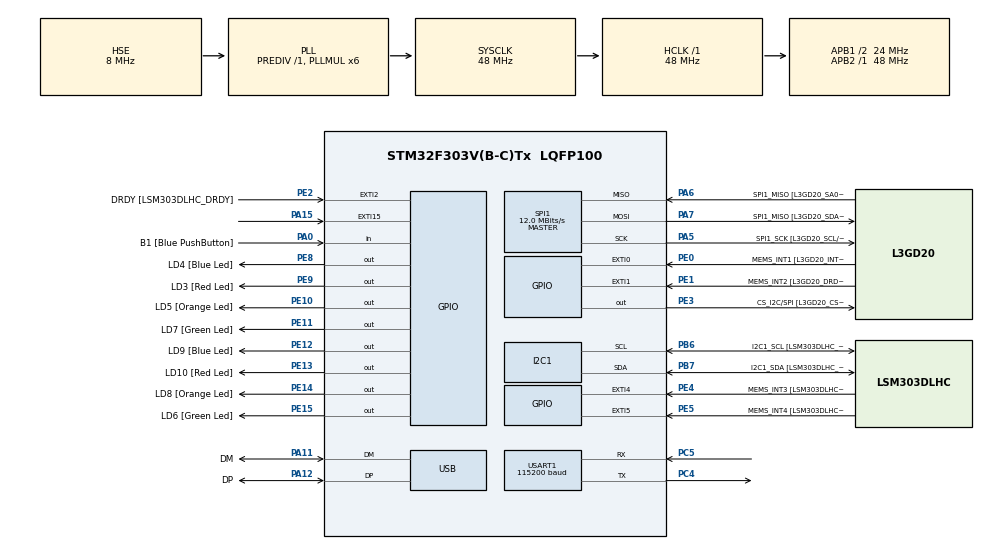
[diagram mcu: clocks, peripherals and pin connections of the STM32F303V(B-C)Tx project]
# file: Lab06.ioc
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I2C1.Timing=0x2000090E
I2C1.Timing-I2C=0x2000090E
Mcu.Family=STM32F3
Mcu.Name=STM32F303V(B-C)Tx
Mcu.Package=LQFP100
NVIC.EXTI15_10_IRQn=true\:0\:0\:false\:false\:true\:true\:true\:true
NVIC.PriorityGroup=NVIC_PRIORITYGROUP_0
NVIC.USB_LP_CAN_RX0_IRQn=true\:0\:0\:false\:false\:true\:false\:true\:true
PA0.GPIO_Label=B1 [Blue PushButton]
PA0.Signal=GPIO_Input
PA11.GPIO_Label=DM
PA11.Mode=Device
PA11.Signal=USB_DM
PA12.GPIO_Label=DP
PA12.Mode=Device
PA12.Signal=USB_DP
PA13.GPIO_Label=SWDIO
PA13.Mode=Serial_Wire
PA13.Signal=SYS_JTMS-SWDIO
PA14.GPIO_Label=SWCLK
PA14.Mode=Serial_Wire
PA14.Signal=SYS_JTCK-SWCLK
PA15.Signal=GPXTI15
PA5.GPIO_Label=SPI1_SCK [L3GD20_SCL/SPC]
PA5.Mode=Full_Duplex_Master
PA5.Signal=SPI1_SCK
PA6.GPIO_Label=SPI1_MISO [L3GD20_SA0/SDO]
PA6.Mode=Full_Duplex_Master
PA6.Signal=SPI1_MISO
PA7.GPIO_Label=SPI1_MISO [L3GD20_SDA/SDI/SDO]
PA7.Mode=Full_Duplex_Master
PA7.Signal=SPI1_MOSI
PB3.GPIO_Label=SWO
PB3.Signal=SYS_JTDO-TRACESWO
PB6.GPIO_Label=I2C1_SCL [LSM303DLHC_SCL]
PB6.GPIO_Pu=GPIO_PULLUP
PB6.Mode=I2C
PB6.Signal=I2C1_SCL
PB7.GPIO_Label=I2C1_SDA [LSM303DLHC_SDA]
PB7.GPIO_Pu=GPIO_PULLUP
PB7.Mode=I2C
PB7.Signal=I2C1_SDA
PC14-OSC32_IN.GPIO_Label=OSC32_IN
PC14-OSC32_IN.Signal=RCC_OSC32_IN
PC15-OSC32_OUT.GPIO_Label=OSC32_OUT
PC15-OSC32_OUT.Signal=RCC_OSC32_OUT
PC4.Mode=Asynchronous
PC4.Signal=USART1_TX
PC5.Mode=Asynchronous
PC5.Signal=USART1_RX
PE0.GPIO_Label=MEMS_INT1 [L3GD20_INT1]
PE0.GPIO_ModeDefaultEXTI=GPIO_MODE_EVT_RISING
PE0.Signal=GPXTI0
PE1.GPIO_Label=MEMS_INT2 [L3GD20_DRDY/INT2]
PE1.GPIO_ModeDefaultEXTI=GPIO_MODE_EVT_RISING
PE1.Signal=GPXTI1
PE10.GPIO_Label=LD5 [Orange Led]
PE10.Signal=GPIO_Output
PE11.GPIO_Label=LD7 [Green Led]
PE11.Signal=GPIO_Output
PE12.GPIO_Label=LD9 [Blue Led]
PE12.Signal=GPIO_Output
PE13.GPIO_Label=LD10 [Red Led]
PE13.Signal=GPIO_Output
PE14.GPIO_Label=LD8 [Orange Led]
PE14.Signal=GPIO_Output
PE15.GPIO_Label=LD6 [Green Led]
PE15.Signal=GPIO_Output
PE2.GPIO_Label=DRDY [LSM303DLHC_DRDY]
PE2.GPIO_ModeDefaultEXTI=GPIO_MODE_EVT_RISING
PE2.Signal=GPXTI2
PE3.GPIO_Label=CS_I2C/SPI [L3GD20_CS_I2C/SPI]
PE3.Signal=GPIO_Output
PE4.GPIO_Label=MEMS_INT3 [LSM303DLHC_INT1]
PE4.GPIO_ModeDefaultEXTI=GPIO_MODE_EVT_RISING
PE4.Signal=GPXTI4
PE5.GPIO_Label=MEMS_INT4 [LSM303DLHC_INT2]
PE5.GPIO_ModeDefaultEXTI=GPIO_MODE_EVT_RISING
PE5.Signal=GPXTI5
PE8.GPIO_Label=LD4 [Blue Led]
PE8.Signal=GPIO_Output
PE9.GPIO_Label=LD3 [Red Led]
PE9.Signal=GPIO_Output
PF0-OSC_IN.GPIO_Label=OSC_IN
PF0-OSC_IN.Mode=HSE-External-Clock-Source
PF0-OSC_IN.Signal=RCC_OSC_IN
PF1-OSC_OUT.GPIO_Label=OSC_OUT
PF1-OSC_OUT.Signal=RCC_OSC_OUT
ProjectManager.HeapSize=0x200
ProjectManager.StackSize=0x400
ProjectManager.TargetToolchain=CMake
RCC.AHBFreq_Value=48000000
RCC.APB1CLKDivider=RCC_HCLK_DIV2
RCC.APB1Freq_Value=24000000
RCC.APB1TimFreq_Value=48000000
RCC.APB2Freq_Value=48000000
RCC.APB2TimFreq_Value=48000000
RCC.CortexFreq_Value=48000000
RCC.HCLKFreq_Value=48000000
RCC.HSE_VALUE=8000000
RCC.HSI_VALUE=8000000
RCC.LSE_VALUE=32768
RCC.PLLMUL=RCC_PLL_MUL6
RCC.SYSCLKFreq_VALUE=48000000
RCC.SYSCLKSourceVirtual=RCC_SYSCLKSOURCE_PLLCLK
RCC.USBFreq_Value=48000000
SPI1.BaudRatePrescaler=SPI_BAUDRATEPRESCALER_4
SPI1.BaudRatePrescaler-Full_Duplex_Master=SPI_BAUDRATEPRESCALER_2
SPI1.CalculateBaudRate=12.0 MBits/s
SPI1.CalculateBaudRate-Full_Duplex_Master=24.0 MBits/s
SPI1.Direction=SPI_DIRECTION_2LINES
SPI1.Mode=SPI_MODE_MASTER
SPI1.Mode-Full_Duplex_Master=SPI_MODE_MASTER
SPI1.VirtualType=VM_MASTER
TIM2.Period=0xFFFF
TIM2.Prescaler=9
USART1.BaudRate=115200
USART1.VirtualMode-Asynchronous=VM_ASYNC
USB_DEVICE.CLASS_NAME_FS=CDC
USB_DEVICE.VirtualMode=Cdc
USB_DEVICE.VirtualModeFS=Cdc_FS
VP_TIM2_VS_ClockSourceINT.Mode=Internal
VP_USB_DEVICE_VS_USB_DEVICE_CDC_FS.Mode=CDC_FS
board=STM32F3DISCOVERY

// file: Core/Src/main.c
/* USER CODE BEGIN Header */
/**
  ******************************************************************************
  * @file           : main.c
  * @brief          : Main program body
  ******************************************************************************
  * @attention
  *
  * Copyright (c) 2025 STMicroelectronics.
  * All rights reserved.
  *
  * This software is licensed under terms that can be found in the LICENSE file
  * in the root directory of this software component.
  * If no LICENSE file comes with this software, it is provided AS-IS.
  *
  ******************************************************************************
  */
/* USER CODE END Header */
#include "main.h"
#include "usb_device.h"
#include <string.h>
#include <math.h>

I2C_HandleTypeDef hi2c1;

SPI_HandleTypeDef hspi1;

TIM_HandleTypeDef htim2;

UART_HandleTypeDef huart1;

/* USER CODE BEGIN PV */
// ------------ Frequency measurement configuration ------------
#define SAMPLE_COUNT        16          // e.g., 10 or 16
#define TIMER_TICK_HZ       8000000UL   // Per the assignment formula (8 MHz)
#define EXTI_INPUT_PIN      GPIO_PIN_15 // <-- change to GPIO_PIN_0 if you move to PD0

static volatile uint32_t period_samples[SAMPLE_COUNT] = {0};
static volatile uint8_t  sample_index = 0;
static volatile uint8_t  measuring = 0;       // 0: wait for first edge, 1: timer running waiting for second edge
static volatile uint8_t  print_flag = 0;      // set when buffer is full

// Optional: simple rate limiter for printing in main loop
static uint32_t last_print_check_ms = 0;
/* USER CODE END PV */

void SystemClock_Config(void);
static void MX_GPIO_Init(void);
static void MX_I2C1_Init(void);
static void MX_SPI1_Init(void);
static void MX_TIM2_Init(void);
static void MX_USART1_UART_Init(void);

/* USER CODE BEGIN 0 */
static void uart_println(const char *s)
{
  HAL_UART_Transmit(&huart1, (uint8_t*)s, (uint16_t)strlen(s), HAL_MAX_DELAY);
  const char nl[2] = {'\r','\n'};
  HAL_UART_Transmit(&huart1, (uint8_t*)nl, 2, HAL_MAX_DELAY);
}

/* USER CODE END 0 */

int main(void)
{

  /* MCU Configuration--------------------------------------------------------*/

  /* Reset of all peripherals, Initializes the Flash interface and the Systick. */
  HAL_Init();

  /* Configure the system clock */
  SystemClock_Config();

  /* Initialize all configured peripherals */
  MX_GPIO_Init();
  MX_I2C1_Init();
  MX_SPI1_Init();
  MX_TIM2_Init();
  MX_USART1_UART_Init();
  MX_USB_DEVICE_Init();

  /* Infinite loop */
  while (1)
  {
    /* USER CODE BEGIN 3 */
uint32_t now = HAL_GetTick();
if ((now - last_print_check_ms) >= 100)   // every ~100 ms
{
  last_print_check_ms = now;

  if (print_flag)
  {
__disable_irq();
uint32_t local[SAMPLE_COUNT];
for (uint8_t i = 0; i < SAMPLE_COUNT; ++i)
    local[i] = period_samples[i];
sample_index = 0;
print_flag = 0;
__enable_irq();

// Compute average (in ticks)
uint64_t ssum = 0;
uint32_t minv = 0xFFFFFFFFu, maxv = 0;
for (uint8_t i = 0; i < SAMPLE_COUNT; ++i) {
  uint32_t v = local[i];
  ssum += v;
  if (v < minv) minv = v;
  if (v > maxv) maxv = v;
}
uint32_t avg_ticks_u32 = (uint32_t)((ssum + (SAMPLE_COUNT/2)) / SAMPLE_COUNT);

// Protect against divide-by-zero
if (avg_ticks_u32 == 0) {
  uart_println("avg_ticks is 0; check signal/EXTI prescaler.");
} else {
  uint64_t num = (uint64_t)TIMER_TICK_HZ;
  uint64_t den = (uint64_t)2 * (uint64_t)avg_ticks_u32;
  uint32_t f_hz = (uint32_t)((num + den/2) / den);

  uint32_t half_span_ticks = (maxv > minv) ? ((maxv - minv) / 2u) : 0u;
  uint32_t f_err_hz = (avg_ticks_u32 ? (uint32_t)(( (uint64_t)f_hz * half_span_ticks + avg_ticks_u32/2 ) / avg_ticks_u32) : 0u);

  char line[160];
  snprintf(line, sizeof(line),
           "f = %lu Hz  (±%lu Hz)  [avg_ticks=%lu, span=%lu..%lu, N=%d]",
           (unsigned long)f_hz,
           (unsigned long)f_err_hz,
           (unsigned long)avg_ticks_u32,
           (unsigned long)minv,
           (unsigned long)maxv,
           SAMPLE_COUNT);
  uart_println(line);
}
  }
}

    /* USER CODE BEGIN 3 */
  }
  /* USER CODE END 3 */
}

void SystemClock_Config(void)
{
  RCC_OscInitTypeDef RCC_OscInitStruct = {0};
  RCC_ClkInitTypeDef RCC_ClkInitStruct = {0};
  RCC_PeriphCLKInitTypeDef PeriphClkInit = {0};

  /** Initializes the RCC Oscillators according to the specified parameters
  * in the RCC_OscInitTypeDef structure.
  */
  RCC_OscInitStruct.OscillatorType = RCC_OSCILLATORTYPE_HSI|RCC_OSCILLATORTYPE_HSE;
  RCC_OscInitStruct.HSEState = RCC_HSE_BYPASS;
  RCC_OscInitStruct.HSEPredivValue = RCC_HSE_PREDIV_DIV1;
  RCC_OscInitStruct.HSIState = RCC_HSI_ON;
  RCC_OscInitStruct.HSICalibrationValue = RCC_HSICALIBRATION_DEFAULT;
  RCC_OscInitStruct.PLL.PLLState = RCC_PLL_ON;
  RCC_OscInitStruct.PLL.PLLSource = RCC_PLLSOURCE_HSE;
  RCC_OscInitStruct.PLL.PLLMUL = RCC_PLL_MUL6;
  if (HAL_RCC_OscConfig(&RCC_OscInitStruct) != HAL_OK)
  {
    Error_Handler();
  }

  /** Initializes the CPU, AHB and APB buses clocks
  */
  RCC_ClkInitStruct.ClockType = RCC_CLOCKTYPE_HCLK|RCC_CLOCKTYPE_SYSCLK
                              |RCC_CLOCKTYPE_PCLK1|RCC_CLOCKTYPE_PCLK2;
  RCC_ClkInitStruct.SYSCLKSource = RCC_SYSCLKSOURCE_PLLCLK;
  RCC_ClkInitStruct.AHBCLKDivider = RCC_SYSCLK_DIV1;
  RCC_ClkInitStruct.APB1CLKDivider = RCC_HCLK_DIV2;
  RCC_ClkInitStruct.APB2CLKDivider = RCC_HCLK_DIV1;

  if (HAL_RCC_ClockConfig(&RCC_ClkInitStruct, FLASH_LATENCY_1) != HAL_OK)
  {
    Error_Handler();
  }
  PeriphClkInit.PeriphClockSelection = RCC_PERIPHCLK_USB|RCC_PERIPHCLK_USART1
                              |RCC_PERIPHCLK_I2C1;
  PeriphClkInit.Usart1ClockSelection = RCC_USART1CLKSOURCE_PCLK2;
  PeriphClkInit.I2c1ClockSelection = RCC_I2C1CLKSOURCE_HSI;
  PeriphClkInit.USBClockSelection = RCC_USBCLKSOURCE_PLL;
  if (HAL_RCCEx_PeriphCLKConfig(&PeriphClkInit) != HAL_OK)
  {
    Error_Handler();
  }
}

static void MX_I2C1_Init(void)
{

  hi2c1.Instance = I2C1;
  hi2c1.Init.Timing = 0x2000090E;
  hi2c1.Init.OwnAddress1 = 0;
  hi2c1.Init.AddressingMode = I2C_ADDRESSINGMODE_7BIT;
  hi2c1.Init.DualAddressMode = I2C_DUALADDRESS_DISABLE;
  hi2c1.Init.OwnAddress2 = 0;
  hi2c1.Init.OwnAddress2Masks = I2C_OA2_NOMASK;
  hi2c1.Init.GeneralCallMode = I2C_GENERALCALL_DISABLE;
  hi2c1.Init.NoStretchMode = I2C_NOSTRETCH_DISABLE;
  if (HAL_I2C_Init(&hi2c1) != HAL_OK)
  {
    Error_Handler();
  }

  /** Configure Analogue filter
  */
  if (HAL_I2CEx_ConfigAnalogFilter(&hi2c1, I2C_ANALOGFILTER_ENABLE) != HAL_OK)
  {
    Error_Handler();
  }

  /** Configure Digital filter
  */
  if (HAL_I2CEx_ConfigDigitalFilter(&hi2c1, 0) != HAL_OK)
  {
    Error_Handler();
  }

}

static void MX_SPI1_Init(void)
{

  /* SPI1 parameter configuration*/
  hspi1.Instance = SPI1;
  hspi1.Init.Mode = SPI_MODE_MASTER;
  hspi1.Init.Direction = SPI_DIRECTION_2LINES;
  hspi1.Init.DataSize = SPI_DATASIZE_4BIT;
  hspi1.Init.CLKPolarity = SPI_POLARITY_LOW;
  hspi1.Init.CLKPhase = SPI_PHASE_1EDGE;
  hspi1.Init.NSS = SPI_NSS_SOFT;
  hspi1.Init.BaudRatePrescaler = SPI_BAUDRATEPRESCALER_4;
  hspi1.Init.FirstBit = SPI_FIRSTBIT_MSB;
  hspi1.Init.TIMode = SPI_TIMODE_DISABLE;
  hspi1.Init.CRCCalculation = SPI_CRCCALCULATION_DISABLE;
  hspi1.Init.CRCPolynomial = 7;
  hspi1.Init.CRCLength = SPI_CRC_LENGTH_DATASIZE;
  hspi1.Init.NSSPMode = SPI_NSS_PULSE_ENABLE;
  if (HAL_SPI_Init(&hspi1) != HAL_OK)
  {
    Error_Handler();
  }

}

static void MX_TIM2_Init(void)
{

  TIM_ClockConfigTypeDef sClockSourceConfig = {0};
  TIM_MasterConfigTypeDef sMasterConfig = {0};

  htim2.Instance = TIM2;
  htim2.Init.Prescaler = 9;
  htim2.Init.CounterMode = TIM_COUNTERMODE_UP;
  htim2.Init.Period = 4294967295;
  htim2.Init.ClockDivision = TIM_CLOCKDIVISION_DIV1;
  htim2.Init.AutoReloadPreload = TIM_AUTORELOAD_PRELOAD_DISABLE;
  if (HAL_TIM_Base_Init(&htim2) != HAL_OK)
  {
    Error_Handler();
  }
  sClockSourceConfig.ClockSource = TIM_CLOCKSOURCE_INTERNAL;
  if (HAL_TIM_ConfigClockSource(&htim2, &sClockSourceConfig) != HAL_OK)
  {
    Error_Handler();
  }
  sMasterConfig.MasterOutputTrigger = TIM_TRGO_RESET;
  sMasterConfig.MasterSlaveMode = TIM_MASTERSLAVEMODE_DISABLE;
  if (HAL_TIMEx_MasterConfigSynchronization(&htim2, &sMasterConfig) != HAL_OK)
  {
    Error_Handler();
  }

}

static void MX_USART1_UART_Init(void)
{

  huart1.Instance = USART1;
  huart1.Init.BaudRate = 115200;
  huart1.Init.WordLength = UART_WORDLENGTH_8B;
  huart1.Init.StopBits = UART_STOPBITS_1;
  huart1.Init.Parity = UART_PARITY_NONE;
  huart1.Init.Mode = UART_MODE_TX_RX;
  huart1.Init.HwFlowCtl = UART_HWCONTROL_NONE;
  huart1.Init.OverSampling = UART_OVERSAMPLING_16;
  huart1.Init.OneBitSampling = UART_ONE_BIT_SAMPLE_DISABLE;
  huart1.AdvancedInit.AdvFeatureInit = UART_ADVFEATURE_NO_INIT;
  if (HAL_UART_Init(&huart1) != HAL_OK)
  {
    Error_Handler();
  }

}

static void MX_GPIO_Init(void)
{
  GPIO_InitTypeDef GPIO_InitStruct = {0};

  /* GPIO Ports Clock Enable */
  __HAL_RCC_GPIOE_CLK_ENABLE();
  __HAL_RCC_GPIOC_CLK_ENABLE();
  __HAL_RCC_GPIOF_CLK_ENABLE();
  __HAL_RCC_GPIOA_CLK_ENABLE();
  __HAL_RCC_GPIOB_CLK_ENABLE();

  /*Configure GPIO pin Output Level */
  HAL_GPIO_WritePin(GPIOE, CS_I2C_SPI_Pin|LD4_Pin|LD3_Pin|LD5_Pin
                          |LD7_Pin|LD9_Pin|LD10_Pin|LD8_Pin
                          |LD6_Pin, GPIO_PIN_RESET);

  /*Configure GPIO pins : DRDY_Pin MEMS_INT3_Pin MEMS_INT4_Pin MEMS_INT1_Pin
                           MEMS_INT2_Pin */
  GPIO_InitStruct.Pin = DRDY_Pin|MEMS_INT3_Pin|MEMS_INT4_Pin|MEMS_INT1_Pin
                          |MEMS_INT2_Pin;
  GPIO_InitStruct.Mode = GPIO_MODE_EVT_RISING;
  GPIO_InitStruct.Pull = GPIO_NOPULL;
  HAL_GPIO_Init(GPIOE, &GPIO_InitStruct);

  /*Configure GPIO pins : CS_I2C_SPI_Pin LD4_Pin LD3_Pin LD5_Pin
                           LD7_Pin LD9_Pin LD10_Pin LD8_Pin
                           LD6_Pin */
  GPIO_InitStruct.Pin = CS_I2C_SPI_Pin|LD4_Pin|LD3_Pin|LD5_Pin
                          |LD7_Pin|LD9_Pin|LD10_Pin|LD8_Pin
                          |LD6_Pin;
  GPIO_InitStruct.Mode = GPIO_MODE_OUTPUT_PP;
  GPIO_InitStruct.Pull = GPIO_NOPULL;
  GPIO_InitStruct.Speed = GPIO_SPEED_FREQ_LOW;
  HAL_GPIO_Init(GPIOE, &GPIO_InitStruct);

  /*Configure GPIO pin : B1_Pin */
  GPIO_InitStruct.Pin = B1_Pin;
  GPIO_InitStruct.Mode = GPIO_MODE_INPUT;
  GPIO_InitStruct.Pull = GPIO_NOPULL;
  HAL_GPIO_Init(B1_GPIO_Port, &GPIO_InitStruct);

  /*Configure GPIO pin : PA15 */
  GPIO_InitStruct.Pin = GPIO_PIN_15;
  GPIO_InitStruct.Mode = GPIO_MODE_IT_RISING;
  GPIO_InitStruct.Pull = GPIO_NOPULL;
  HAL_GPIO_Init(GPIOA, &GPIO_InitStruct);

  /* EXTI interrupt init*/
  HAL_NVIC_SetPriority(EXTI15_10_IRQn, 0, 0);
  HAL_NVIC_EnableIRQ(EXTI15_10_IRQn);

}

/* USER CODE BEGIN 4 */
void HAL_GPIO_EXTI_Callback(uint16_t GPIO_Pin)
{
  if (GPIO_Pin != EXTI_INPUT_PIN) return;

  if (measuring == 0)
  {
    // First edge: reset and start TIM2
    __HAL_TIM_SET_COUNTER(&htim2, 0);
    HAL_TIM_Base_Start(&htim2);
    measuring = 1;
  }
  else
  {
    // Second edge: capture elapsed ticks, stop timer
    uint32_t ticks = __HAL_TIM_GET_COUNTER(&htim2);
    HAL_TIM_Base_Stop(&htim2);

    // Store the measured "period" in timer ticks (per assignment flow)
    if (sample_index < SAMPLE_COUNT)
    {
      period_samples[sample_index++] = ticks;
      if (sample_index >= SAMPLE_COUNT)
      {
        print_flag = 1;   // buffer full → ready to report in main()
      }
    }

    // Prepare for next pair of edges
    measuring = 0;
  }
}

/* USER CODE END 4 */

void Error_Handler(void)
{
  __disable_irq();
  while (1)
  {
  }
}
